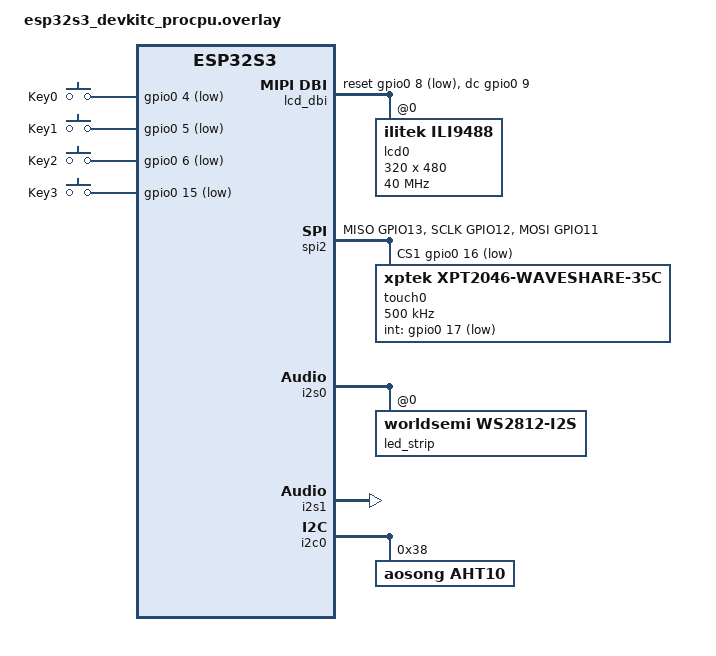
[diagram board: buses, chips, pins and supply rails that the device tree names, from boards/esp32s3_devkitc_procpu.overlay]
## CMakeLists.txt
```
# SPDX-License-Identifier: Apache-2.0

cmake_minimum_required(VERSION 3.20.0)

list(APPEND ZEPHYR_EXTRA_MODULES
    ${CMAKE_CURRENT_LIST_DIR}/../modules/ej3989_drivers
)

find_package(Zephyr REQUIRED HINTS $ENV{ZEPHYR_BASE})
project(lvgl_practice)

target_sources(app PRIVATE
    src/main.c
    src/lvgl_ej.c
    src/led_service.c
    src/app_controller.c
    src/app_state.c
    src/app_settings.c
    src/aht10_service.c
    src/max98357a_service.c
    src/wifi_service.c
    src/radio_service.c
)

target_include_directories(app PRIVATE
    ${CMAKE_CURRENT_SOURCE_DIR}/third_party/minimp3
)

set(gen_dir ${ZEPHYR_BINARY_DIR}/include/generated)
generate_inc_file_for_target(
    app
    ${CMAKE_CURRENT_SOURCE_DIR}/assert/8-xp.wav
    ${gen_dir}/8_xp_wav.inc
)
```

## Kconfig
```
mainmenu "LVGL practice"

menu "Internet radio"

config APP_WIFI_SSID
	string "Wi-Fi SSID"
	default ""
	help
	  SSID used by the internet radio service.

config APP_WIFI_PSK
	string "Wi-Fi password"
	default ""
	help
	  WPA/WPA2 password. Leave empty only for an open network.

config APP_RADIO_HOST
	string "Internet radio host"
	default "wrti-live.streamguys1.com"

config APP_RADIO_PATH
	string "Internet radio path"
	default "/jazz-mp3"

endmenu

config LVGL_EJ_STACK_USAGE_LOG
	bool "Print LVGL EJ stack usage"
	select INIT_STACKS
	select THREAD_STACK_INFO
	select THREAD_NAME
	help
	  Enable periodic printk output for the LVGL EJ thread stack usage.
	  This is intended for debugging stack size only.

config LVGL_EJ_STACK_LOG_INTERVAL_MS
	int "LVGL EJ stack usage log interval in milliseconds"
	default 5000
	depends on LVGL_EJ_STACK_USAGE_LOG
	help
	  Interval used for periodic LVGL EJ thread stack usage output.

config APP_STACK_USAGE_LOG
	bool "Print app controller stack usage"
	select INIT_STACKS
	select THREAD_STACK_INFO
	select THREAD_NAME
	help
	  Print the app controller thread stack high-water usage.
	  This option is intended for stack size debugging.

source "Kconfig.zephyr"
```

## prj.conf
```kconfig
# Basic console/log output
CONFIG_CONSOLE=y
CONFIG_UART_CONSOLE=y
CONFIG_PRINTK=y
CONFIG_LOG=y
CONFIG_LOG_DEFAULT_LEVEL=3
CONFIG_ASSERT=y
CONFIG_DEBUG_OPTIMIZATIONS=y

# Persistent settings with NVS
CONFIG_FLASH=y
CONFIG_FLASH_MAP=y
CONFIG_NVS=y
CONFIG_SETTINGS=y
CONFIG_SETTINGS_NVS=y

# Display and touch hardware
CONFIG_GPIO=y
CONFIG_SPI=y
CONFIG_DISPLAY=y
CONFIG_ILI9488=y
CONFIG_MIPI_DBI=y
CONFIG_INPUT=y
CONFIG_INPUT_XPT2046=n
CONFIG_EJ3989_INPUT_XPT2046=y
CONFIG_LED_STRIP=y
CONFIG_WS2812_STRIP_I2S=y
# Audio - MAX98357A
CONFIG_I2S=y
CONFIG_I2S_ESP32_TX_BLOCK_COUNT=20
CONFIG_I2S_ESP32_ALLOWED_EMPTY_TX_QUEUE_DEFERRAL_TIME_MS=50

# Wi-Fi, HTTP and MP3 internet radio
CONFIG_NETWORKING=y
CONFIG_NET_IPV4=y
CONFIG_NET_IPV6=n
CONFIG_NET_TCP=y
CONFIG_NET_SOCKETS=y
CONFIG_NET_CONTEXT_RCVTIMEO=y
CONFIG_NET_DHCPV4=y
CONFIG_DNS_RESOLVER=y
CONFIG_NET_MGMT=y
CONFIG_NET_MGMT_EVENT=y
CONFIG_EVENTS=y
# A 128 kbps stream needs sustained RX throughput above 16 KB/s.
CONFIG_NET_PKT_RX_COUNT=32
CONFIG_NET_BUF_RX_COUNT=128
CONFIG_NET_TCP_MAX_RECV_WINDOW_SIZE=16384
CONFIG_NET_RX_STACK_SIZE=4096
CONFIG_WIFI=y
CONFIG_WIFI_USAGE_MODE_STA=y
CONFIG_ESP32_WIFI_STA_RECONNECT=y
CONFIG_ESP_WIFI_HEAP_SPIRAM=y
CONFIG_ESP32_WIFI_NET_ALLOC_SPIRAM=n
CONFIG_ESP32_WIFI_STATIC_RX_BUFFER_NUM=12
CONFIG_ESP32_WIFI_RX_IRAM_OPT=y
# Set these in a private extra conf file instead of committing credentials.
# CONFIG_APP_WIFI_SSID="your-ssid"
# CONFIG_APP_WIFI_PSK="your-password"

# temperature/Humidity - AHT10
CONFIG_I2C=y
CONFIG_SENSOR=y
CONFIG_EJ3989_SENSOR_AHT10=y

# LVGL
CONFIG_LVGL=y
CONFIG_LV_Z_AUTO_INIT=n
CONFIG_LV_Z_POINTER_INPUT=y
CONFIG_LV_COLOR_16_SWAP=y
CONFIG_LV_USE_LABEL=y
CONFIG_LV_USE_BUTTON=y
CONFIG_LV_USE_MSGBOX=y
CONFIG_LV_FONT_MONTSERRAT_24=y
CONFIG_LV_Z_MEM_POOL_SIZE=65536
CONFIG_LV_Z_MEMORY_POOL_CUSTOM_SECTION=y
CONFIG_LV_Z_BUFFER_ALLOC_STATIC=y
CONFIG_LV_Z_VDB_CUSTOM_SECTION=y

# Main only starts the LVGL EJ thread, so it no longer needs to hold LVGL setup.
CONFIG_MAIN_STACK_SIZE=4096

# Optional stack usage measurement
# CONFIG_LVGL_EJ_STACK_USAGE_LOG=y
# CONFIG_LVGL_EJ_STACK_LOG_INTERVAL_MS=5000
# CONFIG_APP_STACK_USAGE_LOG=y
CONFIG_INIT_STACKS=y
```

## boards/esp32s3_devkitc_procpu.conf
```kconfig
# ESP32-S3-WROOM-1-N16R8 uses 16 MB Quad SPI flash and 8 MB Octal SPI PSRAM.
# Zephyr defaults OCT_FLASH to y when SPIRAM_MODE_OCT is enabled, so override
# the flash path back to Quad/DIO while keeping PSRAM in Octal mode.
CONFIG_SPIRAM_MODE_OCT=y
CONFIG_ESPTOOLPY_OCT_FLASH=n
```

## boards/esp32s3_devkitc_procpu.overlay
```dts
#include <zephyr/dt-bindings/input/input-event-codes.h>
#include <zephyr/dt-bindings/gpio/gpio.h>
#include <zephyr/dt-bindings/led/led.h>
#include <zephyr/dt-bindings/display/panel.h>
#include <zephyr/dt-bindings/mipi_dbi/mipi_dbi.h>

/ {
    aliases {
        app-buttons = &app_buttons;
        led-strip = &led_strip;
        display = &lcd0;
        touch = &touch0;
    };

    chosen {
        zephyr,display = &lcd0;
        zephyr,touch = &touch0;
    };

    app_buttons: buttons_ej {
        compatible = "gpio-keys";
        debounce-interval-ms = <50>;

        key0: key_0 {
            gpios = <&gpio0 4 (GPIO_ACTIVE_LOW | GPIO_PULL_UP)>;
            label = "Key0";
            zephyr,code = <INPUT_KEY_1>;
        };
        key1: key_1 {
            gpios = <&gpio0 5 (GPIO_ACTIVE_LOW | GPIO_PULL_UP)>;
            label = "Key1";
            zephyr,code = <INPUT_KEY_2>;
        };
        key2: key_2 {
            gpios = <&gpio0 6 (GPIO_ACTIVE_LOW | GPIO_PULL_UP)>;
            label = "Key2";
            zephyr,code = <INPUT_KEY_3>;
        };
        key3: key_3 {
            gpios = <&gpio0 15 (GPIO_ACTIVE_LOW | GPIO_PULL_UP)>;
            label = "Key3";
            zephyr,code = <INPUT_KEY_4>;
        };
    };

    /*
     * MHS-3.5inch RPi Display LCD-only wiring, ESP32-S3 side:
     *   LCD_RS  -> GPIO9
     *   LCD_CS  -> GPIO10
     *   LCD_SI  -> GPIO11
     *   LCD_SCK -> GPIO12
     *   RST     -> GPIO8
     *
     * Touch wiring on the same SPI bus:
     *   TP_SI / T_DIN       -> GPIO11
     *   TP_SCK / T_CLK/SCL  -> GPIO12
     *   TP_DO / T_DO / SDO  -> GPIO13
     *   TP_CS               -> GPIO16
     *   TP_IRQ              -> GPIO17
     */
    lcd_dbi: mipi_dbi {
        compatible = "zephyr,mipi-dbi-spi";
        spi-dev = <&spi2>;
        dc-gpios = <&gpio0 9 GPIO_ACTIVE_HIGH>;
        reset-gpios = <&gpio0 8 GPIO_ACTIVE_LOW>;
        xfr-min-bits = "MIPI_DBI_SPI_XFR_16BIT";
        write-only;

        #address-cells = <1>;
        #size-cells = <0>;
        status = "okay";

        lcd0: ili9488@0 {
            compatible = "ilitek,ili9488";
            reg = <0>;
            status = "okay";

            mipi-mode = "MIPI_DBI_MODE_SPI_4WIRE";
            /*
             * The LCDWiki page lists ILI9486, 320x480 resolution, XPT2046
             * touch, and SPI input up to 125MHz. Keep the first ESP32-S3
             * bring-up speed conservative; raise it only after the direct
             * display_write test is stable.
             */
            mipi-max-frequency = <40000000>;
            pixel-format = <PANEL_PIXEL_FORMAT_RGB_565>;

            /*
             * Match the Linux mhs35 overlay MADCTL value 0x28:
             * BGR + row/column exchange. In Zephyr's common ILI9XXX
             * rotation logic this is rotation 90 with MX toggled back off.
             */
            width = <320>;
            height = <480>;
            rotation = <90>;
            h-mirror;
        };
    };

    lvgl_touch {
        compatible = "zephyr,lvgl-pointer-input";
        input = <&touch0>;
        display = <&lcd0>;
        /*
         * The LVGL pointer layer rotates touch coordinates according to the
         * display orientation. Keep the XPT2046 driver in the panel's native
         * 320x480 coordinate space and let this layer apply rotation = <90>.
         */
        invert-x;
        invert-y;
        status = "okay";
    };
};

&spi2 {
    status = "okay";
    #address-cells = <1>;
    #size-cells = <0>;
    cs-gpios = <&gpio0 10 GPIO_ACTIVE_LOW>,
               <&gpio0 16 GPIO_ACTIVE_LOW>;
    pinctrl-0 = <&spim2_lcd_touch>;
    pinctrl-names = "default";

    touch0: xpt2046@1 {
        compatible = "xptek,xpt2046-waveshare-35c";
        reg = <1>;
        spi-max-frequency = <500000>;
        int-gpios = <&gpio0 17 (GPIO_ACTIVE_LOW | GPIO_PULL_UP)>;
        touchscreen-size-x = <320>;
        touchscreen-size-y = <480>;
        min-x = <420>;
        max-x = <3710>;
        min-y = <370>;
        max-y = <3750>;
        z-threshold = <300>;
        reads = <4>;
        status = "okay";
    };
};

&pinctrl {
    spim2_lcd_touch: spim2_lcd_touch {
        group1 {
            pinmux = <SPIM2_MISO_GPIO13>,
                     <SPIM2_SCLK_GPIO12>;
        };

        group2 {
            pinmux = <SPIM2_MOSI_GPIO11>;
            output-low;
        };
    };
};

&spi3 {
    status = "disabled";
};

&i2s0_default {
    group1 {
        pinmux = <I2S0_O_SD_GPIO38>;
    };
};

&i2s0 {
    status = "okay";

    dmas = <&dma 3>;
    dma-names = "tx";

    led_strip: ws2812@0 {
        compatible = "worldsemi,ws2812-i2s";

        reg = <0>;
        chain-length = <1>;
        color-mapping = <LED_COLOR_ID_GREEN
            LED_COLOR_ID_RED
            LED_COLOR_ID_BLUE>;
        reset-delay = <500>;
    };
};

&dma {
    status = "okay";
};

&pinctrl {
    i2s1_max98357: i2s1_max98357 {
        group1 {
            pinmux = <I2S1_O_BCK_GPIO39>,
                     <I2S1_O_WS_GPIO40>,
                     <I2S1_O_SD_GPIO41>;
        };
    };
};

&i2s1 {
    status = "okay";
    pinctrl-0 = <&i2s1_max98357>;
    pinctrl-names = "default";
};

&i2c0 {
    status = "okay";

    aht10: aht10@38 {
        compatible = "aosong,aht10";
        reg =<0x38>;
        status = "okay";
    };
};
```

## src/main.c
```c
#include <zephyr/kernel.h>

#include "lvgl_ej.h"
#include "app_controller.h"
#include "app_state.h"


int main(void)
{
	int ret;

	printk("LVGL practice start\n");

	app_state_init();

	ret = app_controller_start();
	if (ret < 0) {
		printk("App controller start failed: %d\n", ret);
		return 0;
	}

	ret = lvgl_ej_start();
	if (ret < 0) {
		printk("LVGL EJ start failed: %d\n", ret);
		return 0;
	}

	while (1) {
		k_msleep(1000);
	}
}
```

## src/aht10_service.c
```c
#include "aht10_service.h"

#include <errno.h>

#include <zephyr/device.h>
#include <zephyr/devicetree.h>
#include <zephyr/drivers/sensor.h>

#define AHT10_NODE DT_NODELABEL(aht10)

static const struct device *const aht10_dev = DEVICE_DT_GET(AHT10_NODE);

int aht10_service_init(void)
{
	if (!device_is_ready(aht10_dev)) {
		return -ENODEV;
	}

	return 0;
}

int aht10_service_read(int64_t *temperature_milli_c,
			       int64_t *humidity_milli_percent)
{
	struct sensor_value temperature;
	struct sensor_value humidity;
	int ret;

	if (temperature_milli_c == NULL || humidity_milli_percent == NULL) {
		return -EINVAL;
	}

	ret = sensor_sample_fetch(aht10_dev);
	if (ret < 0) {
		return ret;
	}

	ret = sensor_channel_get(aht10_dev, SENSOR_CHAN_AMBIENT_TEMP,
				 &temperature);
	if (ret < 0) {
		return ret;
	}

	ret = sensor_channel_get(aht10_dev, SENSOR_CHAN_HUMIDITY, &humidity);
	if (ret < 0) {
		return ret;
	}

	*temperature_milli_c = sensor_value_to_milli(&temperature);
	*humidity_milli_percent = sensor_value_to_milli(&humidity);

	return 0;
}
```

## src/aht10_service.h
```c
#ifndef AHT10_SERVICE_H_
#define AHT10_SERVICE_H_

#include <stdint.h>

int aht10_service_init(void);
int aht10_service_read(int64_t *temperature_milli_c,
			       int64_t *humidity_milli_percent);

#endif /* AHT10_SERVICE_H_ */
```

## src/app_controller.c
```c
#include "app_controller.h"
#include "aht10_service.h"
#include "app_state.h"
#include "app_settings.h"
#include "led_service.h"
#include "max98357a_service.h"
#include "radio_service.h"

#include <errno.h>

#include <zephyr/kernel.h>
#include <zephyr/logging/log.h>
#include <zephyr/sys/atomic.h>

LOG_MODULE_REGISTER(app_controller, LOG_LEVEL_INF);

#define APP_THREAD_STACK_SIZE    2048
#define APP_THREAD_PRIORITY      K_PRIO_PREEMPT(6)
#define APP_EVENT_QUEUE_LENGTH  8
#define STATUS_TIMER_PERIOD     K_SECONDS(5)
#define APP_LOG_TEXT_SIZE       64
#define APP_LOG_BLOCK_COUNT     4

BUILD_ASSERT(APP_LOG_BLOCK_COUNT <= APP_EVENT_QUEUE_LENGTH,
	     "Log slab blocks must fit in event queue");
BUILD_ASSERT(APP_LOG_TEXT_SIZE > 1,
	     "Log message buffer is too small");

struct app_log_message {
	char text[APP_LOG_TEXT_SIZE];
};

static void status_timer_expiry(struct k_timer *timer);
static void settings_save_work_handler(struct k_work *work);
static int app_controller_put_event(const struct app_event *event);
#if defined(CONFIG_APP_STACK_USAGE_LOG)
static void app_print_stack_usage(void);
#endif

K_TIMER_DEFINE(status_timer, status_timer_expiry, NULL);
K_WORK_DELAYABLE_DEFINE(settings_save_work, settings_save_work_handler);
K_MSGQ_DEFINE(app_event_queue, sizeof(struct app_event), APP_EVENT_QUEUE_LENGTH, 4);
K_THREAD_STACK_DEFINE(app_thread_stack, APP_THREAD_STACK_SIZE);
K_SEM_DEFINE(app_ready_sem, 0, 1);

K_MEM_SLAB_DEFINE_STATIC_TYPE(log_message_slab,
			      struct app_log_message,
			      APP_LOG_BLOCK_COUNT);

static struct k_thread app_thread;
static atomic_t dropped_event_count;
static int app_init_result;
static bool aht10_available;

#if defined(CONFIG_APP_STACK_USAGE_LOG)
static void app_print_stack_usage(void)
{
	size_t unused;
	size_t total;
	int ret;

	ret = k_thread_stack_space_get(&app_thread, &unused);
	if (ret < 0) {
		LOG_ERR("APP stack check failed: %d", ret);
		return;
	}

	total = K_THREAD_STACK_SIZEOF(app_thread_stack);
	LOG_INF("APP stack: used=%zu unused=%zu total=%zu",
		total - unused, unused, total);
}
#endif /* CONFIG_APP_STACK_USAGE_LOG */

static void app_thread_handler(void *p1, void *p2, void *p3)
{
	struct app_event event;
	struct app_persistent_settings settings;
	struct app_state_snapshot snapshot;
	int ret;

	ARG_UNUSED(p1);
	ARG_UNUSED(p2);
	ARG_UNUSED(p3);

	ret = app_settings_init();
	if (ret < 0) {
		LOG_ERR("Settings init failed: %d", ret);
		goto init_done;
	}

	ret = app_settings_load(&settings);
	if (ret < 0) {
		LOG_WRN("Settings load failed, using default: %d", ret);
	} else {
		app_state_set_led_color_index(settings.led_color_index);
		app_state_set_led_enabled(settings.led_enabled);

		LOG_INF("Settings Loaded: color=%u enabled=%d",
			settings.led_color_index,
			settings.led_enabled);
	}
init_done:
	ret = led_service_init();
	if (ret < 0) {
		goto service_init_done;
	}

	app_state_get_snapshot(&snapshot);
	ret = led_service_restore(snapshot.led_color_index,
				  snapshot.led_enabled);
	if (ret == -EINVAL) {
		LOG_WRN("Invalid saved LED state, using defaults");
		app_state_set_led_color_index(0);
		app_state_set_led_enabled(true);
		ret = led_service_restore(0, true);
	}

service_init_done:
	if (ret >= 0) {
		int sensor_ret = aht10_service_init();

		if (sensor_ret < 0) {
			LOG_WRN("AHT10 service is unavailable: %d", sensor_ret);
		} else {
			aht10_available = true;
			LOG_INF("AHT10 service ready");
		}
	}

	if (ret >= 0) {
		int audio_ret = max98357a_service_init();

		if (audio_ret < 0) {
			LOG_WRN("MAX98357A service is unavailable: %d", audio_ret);
		} else {
			audio_ret = max98357a_service_play_startup_wav();
			if (audio_ret < 0) {
				LOG_WRN("MAX98357A startup WAV failed: %d", audio_ret);
			}
		}
	}

	if (ret >= 0) {
		int radio_ret = radio_service_init();

		if (radio_ret < 0) {
			LOG_WRN("Internet radio service is unavailable: %d", radio_ret);
		}
	}

	app_init_result = ret;
	k_sem_give(&app_ready_sem);

	if (ret < 0) {
		LOG_ERR("LED service init failed: %d", ret);
		return;
	}

	while (1) {
		ret = k_msgq_get(&app_event_queue, &event, K_FOREVER);
		if (ret < 0) {
			LOG_ERR("App event receive failed: %d", ret);
			continue;
		}

		switch (event.type) {
		case APP_EVENT_LED_NEXT: {
			uint32_t led_count;

			led_count = app_state_increment_led_click_count();

			ret = led_service_next();
			if (ret < 0) {
				LOG_ERR("LED update failed: %d", ret);
				break;
			}

			app_state_set_led_color_index((uint8_t)ret);
			app_state_set_led_enabled(true);
			LOG_INF("LED event: count=%u color=%d", led_count, ret);
			(void)k_work_reschedule(&settings_save_work, K_SECONDS(2));
			break;
		}
		case APP_EVENT_AUDIO_PLAY:
			ret = max98357a_service_play_startup_wav();
			if (ret == -EBUSY) {
				LOG_WRN("Audio is already playing");
			} else if (ret < 0) {
				LOG_ERR("Audio playback request failed: %d", ret);
			} else {
				LOG_INF("Audio playback requested");
			}
			break;
		case APP_EVENT_RADIO_TOGGLE:
			if (radio_service_is_playing()) {
				ret = radio_service_stop();
				if (ret < 0) {
					LOG_ERR("Internet radio stop failed: %d", ret);
				} else {
					app_state_set_radio_playing(false);
					LOG_INF("Internet radio stop requested");
				}
			} else {
				ret = radio_service_start();
				if (ret < 0) {
					LOG_ERR("Internet radio request failed: %d", ret);
				} else {
					app_state_set_radio_playing(true);
					LOG_INF("Internet radio playback requested");
				}
			}
			break;
		case APP_EVENT_STATUS_TICK: {
			struct app_state_snapshot snapshot;
			atomic_val_t dropped;
			int64_t temperature_milli_c;
			int64_t humidity_milli_percent;

			app_state_get_snapshot(&snapshot);
			app_state_set_radio_playing(radio_service_is_playing());
			dropped = atomic_get(&dropped_event_count);

			LOG_INF("Status: uptime=%u screen=%d tap=%u led=%u color=%u dropped=%ld",
				event.value,
				snapshot.current_screen,
				snapshot.click_count,
				snapshot.led_click_count,
				snapshot.led_color_index,
				(long)dropped);

			if (aht10_available) {
				ret = aht10_service_read(&temperature_milli_c,
							 &humidity_milli_percent);
				if (ret < 0) {
					LOG_ERR("AHT10 read failed: %d", ret);
					app_state_set_aht10_unavailable();
				} else {
					app_state_set_aht10_reading(temperature_milli_c,
							      humidity_milli_percent);
					LOG_INF("AHT10: temperature=%lld mC humidity=%lld m%%RH",
						(long long)temperature_milli_c,
						(long long)humidity_milli_percent);
				}
			}
#if defined(CONFIG_APP_STACK_USAGE_LOG)
			app_print_stack_usage();
#endif
			break;
		}
		case APP_EVENT_LOG_MESSAGE:
			if (event.log_message == NULL) {
				LOG_WRN("Log event has no message");
				break;
			}
			LOG_INF("App log: %s", (char *)event.log_message->text);

			k_mem_slab_free(&log_message_slab,
					event.log_message);
			break;
		case APP_EVENT_SAVE_SETTINGS: {
			struct app_state_snapshot snapshot;
			struct app_persistent_settings settings;

			app_state_get_snapshot(&snapshot);

			settings = (struct app_persistent_settings) {
				.version = APP_SETTINGS_VERSION,
				.led_color_index = snapshot.led_color_index,
				.led_enabled = snapshot.led_enabled,
				.reserved = 0,
			};
			ret = app_settings_save(&settings);
			if (ret < 0) {
				LOG_ERR("Settings save failed: %d", ret);
			} else {
				LOG_INF("Settings save: color=%u enabled=%d",
					settings.led_color_index,
					settings.led_enabled);
			}
			break;
		}
		default:
			LOG_WRN("Unhandled event type: %d", event.type);
			break;
		}
	}
}

int app_controller_send(enum app_event_type type, uint32_t value)
{
	struct app_event event = {
		.type = type,
		.value = value,
		.log_message = NULL,
	};

	return app_controller_put_event(&event);
}

int app_controller_start(void)
{
	int ret;

	k_thread_create(&app_thread,
			app_thread_stack,
			K_THREAD_STACK_SIZEOF(app_thread_stack),
			app_thread_handler,
			NULL, NULL, NULL,
			APP_THREAD_PRIORITY,
			0,
			K_NO_WAIT);
	k_thread_name_set(&app_thread, "app_controller");

	ret = k_sem_take(&app_ready_sem, K_SECONDS(3));
	if (ret < 0) {
		LOG_ERR("App initialization timeout: %d", ret);
		return ret;
	}

	if (app_init_result < 0) {
		return app_init_result;
	}

	k_timer_start(&status_timer,
		      STATUS_TIMER_PERIOD,
		      STATUS_TIMER_PERIOD);

	return 0;
}

static void status_timer_expiry(struct k_timer *timer)
{
	ARG_UNUSED(timer);

	(void)app_controller_send(APP_EVENT_STATUS_TICK,
				  k_uptime_get_32());
}

static void settings_save_work_handler(struct k_work *work)
{
	int ret;

	ARG_UNUSED(work);

	ret = app_controller_send(APP_EVENT_SAVE_SETTINGS, 0);
	if (ret < 0) {
		LOG_WRN("Settings save event send failed: %d", ret);
	}
}

static int app_controller_put_event(const struct app_event *event)
{
	int ret;

	__ASSERT(event != NULL, "event must not be NULL");
	if (event == NULL) {
		return -EINVAL;
	}

	ret = k_msgq_put(&app_event_queue, event, K_NO_WAIT);
	if (ret < 0) {
		atomic_inc(&dropped_event_count);
	}

	return ret;
}

int app_controller_send_log(const char *text)
{
	struct app_log_message *message;
	struct app_event event;
	int ret;

	if (text == NULL) {
		LOG_WRN("Cannot send a NULL log message");
		return -EINVAL;
	}

	ret = k_mem_slab_alloc(&log_message_slab,
			       (void **)&message,
			       K_NO_WAIT);

	if (ret < 0) {
		atomic_inc(&dropped_event_count);
		LOG_WRN("Log slab allocation failed: %d", ret);
		return ret;
	}

	snprintk(message->text, sizeof(message->text), "%s", text);

	event = (struct app_event) {
		.type = APP_EVENT_LOG_MESSAGE,
		.value = 0,
		.log_message = message,
	};

	ret = app_controller_put_event(&event);
	if (ret < 0) {
		k_mem_slab_free(&log_message_slab, message);
		return ret;
	}

	return 0;
}
```

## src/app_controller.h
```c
#ifndef APP_CONTROLLER_H_
#define APP_CONTROLLER_H_


#include <stdint.h>

struct app_log_message;

enum app_event_type {
	APP_EVENT_LED_NEXT,
	APP_EVENT_AUDIO_PLAY,
	APP_EVENT_RADIO_TOGGLE,
	APP_EVENT_STATUS_TICK,
	APP_EVENT_LOG_MESSAGE,
	APP_EVENT_SAVE_SETTINGS,
};

struct app_event {
	enum app_event_type type;
	uint32_t value;
	struct app_log_message *log_message;
};

int app_controller_start(void);
int app_controller_send(enum app_event_type type, uint32_t value);
int app_controller_send_log(const char *text);


#endif /* APP_CONTROLLER_H_ */
```

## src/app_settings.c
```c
#include "app_settings.h"

#include <errno.h>
#include <stddef.h>

#include <zephyr/settings/settings.h>

#define APP_SETTINGS_KEY "ej/state"

_Static_assert(sizeof(struct app_persistent_settings) == 4,
	       "Persistent settings layout changed");

int app_settings_init(void)
{
	return settings_subsys_init();
}

int app_settings_load(struct app_persistent_settings *settings)
{
	ssize_t len;

	if (settings == NULL) {
		return -EINVAL;
	}

	*settings = (struct app_persistent_settings) {
		.version = APP_SETTINGS_VERSION,
		.led_color_index = 0,
		.led_enabled = true,
		.reserved = 0,
	};

	len = settings_load_one(APP_SETTINGS_KEY,
				settings,
				sizeof(*settings));

	if ((len == 0) || (len == -ENOENT)) {
		return 0;
	}

	if (len < 0) {
		return (int)len;
	}

	if (len != (ssize_t)sizeof(*settings)) {
		return -EINVAL;
	}

	if (settings->version != APP_SETTINGS_VERSION) {
		return -EINVAL;
	}

	return 0;
}

int app_settings_save(const struct app_persistent_settings *settings)
{
	if (settings == NULL) {
		return -EINVAL;
	}

	return settings_save_one(APP_SETTINGS_KEY,
				 settings,
				 sizeof(*settings));
}
```

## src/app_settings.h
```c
#ifndef APP_SETTINGS_H_
#define APP_SETTINGS_H_

#include <stdint.h>

#define APP_SETTINGS_VERSION 1U

struct app_persistent_settings {
	uint8_t version;
	uint8_t led_color_index;
	uint8_t led_enabled;
	uint8_t reserved;
};

int app_settings_init(void);
int app_settings_load(struct app_persistent_settings *settings);
int app_settings_save(const struct app_persistent_settings *settings);

#endif /* APP_SETTINGS_H_ */
```

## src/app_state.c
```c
#include "app_state.h"
#include <zephyr/kernel.h>

static struct app_state_snapshot state;
K_MUTEX_DEFINE(state_lock);

void app_state_init(void)
{
    k_mutex_lock(&state_lock, K_FOREVER);
    state = (struct app_state_snapshot){
        .current_screen = APP_SCREEN_MAIN,
        .click_count = 0,
        .led_click_count = 0,
		.temperature_milli_c = 0,
		.humidity_milli_percent = 0,
        .led_color_index = 0,
        .led_enabled = true,
		.aht10_valid = false,
		.radio_playing = false,
    };

    k_mutex_unlock(&state_lock);
}

uint32_t app_state_increment_click_count(void)
{
    uint32_t count;
    k_mutex_lock(&state_lock, K_FOREVER);
    state.click_count++;
    count = state.click_count;
    k_mutex_unlock(&state_lock);

    return count;
}

uint32_t app_state_increment_led_click_count(void)
{
    uint32_t count;
    k_mutex_lock(&state_lock, K_FOREVER);
    state.led_click_count++;
    count = state.led_click_count;
    k_mutex_unlock(&state_lock);

    return count;
}

void app_state_set_screen(enum app_screen_id screen)
{
    k_mutex_lock(&state_lock, K_FOREVER);
    state.current_screen = screen;
    k_mutex_unlock(&state_lock);
}

void app_state_set_led_color_index(uint8_t color_index)
{
	k_mutex_lock(&state_lock, K_FOREVER);
	state.led_color_index = color_index;
	k_mutex_unlock(&state_lock);
}

void app_state_set_led_enabled(bool enabled)
{
	k_mutex_lock(&state_lock, K_FOREVER);
	state.led_enabled = enabled;
	k_mutex_unlock(&state_lock);
}

void app_state_set_aht10_reading(int64_t temperature_milli_c,
				 int64_t humidity_milli_percent)
{
	k_mutex_lock(&state_lock, K_FOREVER);
	state.temperature_milli_c = temperature_milli_c;
	state.humidity_milli_percent = humidity_milli_percent;
	state.aht10_valid = true;
	k_mutex_unlock(&state_lock);
}

void app_state_set_aht10_unavailable(void)
{
	k_mutex_lock(&state_lock, K_FOREVER);
	state.aht10_valid = false;
	k_mutex_unlock(&state_lock);
}

void app_state_set_radio_playing(bool playing)
{
	k_mutex_lock(&state_lock, K_FOREVER);
	state.radio_playing = playing;
	k_mutex_unlock(&state_lock);
}

void app_state_get_snapshot(struct app_state_snapshot *snapshot)
{
    if (snapshot == NULL) {
        return;
    }
    k_mutex_lock(&state_lock, K_FOREVER);
    *snapshot = state;
    k_mutex_unlock(&state_lock);
}
```

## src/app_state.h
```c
#ifndef APP_STATE_H_
#define APP_STATE_H_

#include <stdbool.h>
#include <stdint.h>

enum app_screen_id {
	APP_SCREEN_MAIN,
	APP_SCREEN_SETUP,
};

struct app_state_snapshot {
    enum app_screen_id current_screen;
    uint32_t click_count;
    uint32_t led_click_count;
	int64_t temperature_milli_c;
	int64_t humidity_milli_percent;
    uint8_t led_color_index;
	bool led_enabled;
	bool aht10_valid;
	bool radio_playing;
};

void app_state_init(void);

uint32_t app_state_increment_click_count(void);
uint32_t app_state_increment_led_click_count(void);

void app_state_set_screen(enum app_screen_id screen);
void app_state_set_led_color_index(uint8_t color_index);
void app_state_set_led_enabled(bool enabled);
void app_state_set_aht10_reading(int64_t temperature_milli_c,
				 int64_t humidity_milli_percent);
void app_state_set_aht10_unavailable(void);
void app_state_set_radio_playing(bool playing);

void app_state_get_snapshot(struct app_state_snapshot *snapshot);

#endif /* APP_STATE_H_ */
```

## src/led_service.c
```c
#include "led_service.h"

#include <errno.h>
#include <stddef.h>

#include <zephyr/device.h>
#include <zephyr/drivers/led_strip.h>
#include <zephyr/kernel.h>
#include <zephyr/sys/util.h>

#define LED_STRIP_NODE DT_ALIAS(led_strip)
#define LED_STRIP_DEV DEVICE_DT_GET(LED_STRIP_NODE)

static const struct led_rgb led_strip_pixels[] = {
	{ .r = 10, .g = 0, .b = 0 },   /* Red */
	{ .r = 0, .g = 10, .b = 0 },   /* Green */
	{ .r = 0, .g = 0, .b = 10 },   /* Blue */
	{ .r = 10, .g = 10, .b = 0 },  /* Yellow */
	{ .r = 0, .g = 10, .b = 10 },  /* Cyan */
	{ .r = 10, .g = 0, .b = 10 },  /* Magenta */
	{ .r = 10, .g = 10, .b = 10 }, /* White */
	{ .r = 10, .g = 5, .b = 0 },   /* Orange */
	{ .r = 5, .g = 0, .b = 10 },   /* Purple */
	{ .r = 2, .g = 2, .b = 2 },    /* Dim white */
};

static struct led_rgb pending_pixel;
static size_t next_color_index;
K_MUTEX_DEFINE(pending_pixel_lock);
static struct k_work update_work;

static void led_service_work_handler(struct k_work *work)
{
	struct led_rgb pixel;

	ARG_UNUSED(work);

	k_mutex_lock(&pending_pixel_lock, K_FOREVER);
	pixel = pending_pixel;
	k_mutex_unlock(&pending_pixel_lock);

	led_strip_update_rgb(LED_STRIP_DEV, &pixel, 1);
}

int led_service_init(void)
{
	if (!device_is_ready(LED_STRIP_DEV)) {
		return -ENODEV;
	}

	k_work_init(&update_work, led_service_work_handler);
	next_color_index = 0;

	return 0;
}

int led_service_restore(uint8_t color_index, bool enabled)
{
	struct led_rgb pixel = { 0 };
	int ret;

	if (color_index >= ARRAY_SIZE(led_strip_pixels)) {
		return -EINVAL;
	}

	if (enabled) {
		pixel = led_strip_pixels[color_index];
	}

	ret = led_strip_update_rgb(LED_STRIP_DEV, &pixel, 1);
	if (ret < 0) {
		return ret;
	}

	next_color_index = (color_index + 1U) % ARRAY_SIZE(led_strip_pixels);

	return 0;
}

int led_service_next(void)
{
	size_t color_index = next_color_index;
	int ret;

	k_mutex_lock(&pending_pixel_lock, K_FOREVER);
	pending_pixel = led_strip_pixels[color_index];
	k_mutex_unlock(&pending_pixel_lock);

	ret = k_work_submit(&update_work);
	if (ret < 0) {
		return ret;
	}

	next_color_index = (color_index + 1) % ARRAY_SIZE(led_strip_pixels);

	return (int)color_index;
}
```

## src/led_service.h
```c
#ifndef LED_SERVICE_H_
#define LED_SERVICE_H_

#include <stdbool.h>
#include <stdint.h>

int led_service_init(void);
int led_service_restore(uint8_t color_index, bool enabled);
int led_service_next(void);

#endif /* LED_SERVICE_H_ */
```

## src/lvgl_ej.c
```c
#include "lvgl_ej.h"
#include "app_controller.h"
#include "app_state.h"

#include <errno.h>
#include <stdint.h>

#include <lvgl.h>
#include <lvgl_zephyr.h>
#include <zephyr/device.h>
#include <zephyr/drivers/display.h>
#include <zephyr/kernel.h>
#include <zephyr/sys/util.h>

#define DISPLAY_NODE DT_CHOSEN(zephyr_display)
#define DISPLAY_DEV DEVICE_DT_GET(DISPLAY_NODE)
#define LVGL_EJ_THREAD_STACK_SIZE 8192
#define LVGL_EJ_THREAD_PRIORITY K_PRIO_PREEMPT(5)

static lv_obj_t *counter_label;
static lv_obj_t *text_box;
static lv_obj_t *log_label;
static lv_obj_t *state_label;
static lv_obj_t *aht10_label;
static lv_obj_t *radio_button_label;
static struct k_thread lvgl_ej_thread;
K_THREAD_STACK_DEFINE(lvgl_ej_thread_stack, LVGL_EJ_THREAD_STACK_SIZE);

enum button_id_ej {
	BUTTON_ID_MAIN,
	BUTTON_ID_SUB,
	BUTTON_ID_MSGBOX,
	BUTTON_ID_SETUP,
};

struct user_data_ej {
	lv_obj_t *screen;
	enum button_id_ej button_id;
};

static void log_box_add_text(const char *text);
static void button_event_cb(lv_event_t *event);
static void box_button_event_cb(lv_event_t *event);
static void screen_back_event_cb(lv_event_t *event);
static void lvgl_ej_thread_handler(void *p1, void *p2, void *p3);
static void ui_state_timer_cb(lv_timer_t *timer);
static void format_milli_value(char *buf, size_t buf_size, int64_t value);

#if defined(CONFIG_LVGL_EJ_STACK_USAGE_LOG)
static void lvgl_ej_print_stack_usage(void);

static void lvgl_ej_print_stack_usage(void)
{
	size_t unused;
	size_t total;
	int ret;

	ret = k_thread_stack_space_get(&lvgl_ej_thread, &unused);
	if (ret < 0) {
		printk("LVGL stack check failed: %d\n", ret);
		return;
	}

	total = K_THREAD_STACK_SIZEOF(lvgl_ej_thread_stack);
	printk("LVGL stack: used=%zu unused=%zu total=%zu\n",
	       total - unused, unused, total);
}
#endif /* CONFIG_LVGL_EJ_STACK_USAGE_LOG */

static void log_box_add_text(const char *text)
{
	lv_label_ins_text(log_label, LV_LABEL_POS_LAST, text);
	lv_obj_scroll_to_y(text_box, LV_COORD_MAX, LV_ANIM_OFF);

}

static void box_button_event_cb(lv_event_t *event)
{
	if (lv_event_get_code(event) != LV_EVENT_CLICKED) {
		return;
	}

	lv_obj_t *mbox = (lv_obj_t *)lv_event_get_user_data(event);
	lv_msgbox_close(mbox);
}

static void screen_back_event_cb(lv_event_t *event)
{
	if (lv_event_get_code(event) != LV_EVENT_CLICKED) {
		return;
	}

	lv_obj_t *screen = lv_event_get_user_data(event);

	app_state_set_screen(APP_SCREEN_MAIN);

	lv_screen_load_anim(screen, LV_SCR_LOAD_ANIM_MOVE_RIGHT, 300, 0, false);
}

static void button_event_cb(lv_event_t *event)
{
	if (lv_event_get_code(event) != LV_EVENT_CLICKED) {
		return;
	}

	struct user_data_ej *user_data = (struct user_data_ej *)lv_event_get_user_data(event);

	if (user_data->button_id == BUTTON_ID_MAIN) {
		char buf[64];
		int ret;

		(void)app_state_increment_click_count();
		ret = app_controller_send(APP_EVENT_RADIO_TOGGLE, 0);
		if (ret < 0) {
			snprintk(buf, sizeof(buf),
				 "Radio event send failed: %d\n", ret);
			log_box_add_text(buf);
			return;
		}

		lv_label_set_text(counter_label, "Radio: Updating...");
		log_box_add_text("Internet radio toggle event sent\n");
	} else if (user_data->button_id == BUTTON_ID_SUB) {
		char buf[64];
		int ret;

		ret = app_controller_send(APP_EVENT_LED_NEXT, 0);
		if (ret < 0) {
			snprintk(buf, sizeof(buf), "Event Queue full: %d\n", ret);
			log_box_add_text(buf);
			return;
		}

		log_box_add_text("LED event sent\n");

	} else if (user_data->button_id == BUTTON_ID_MSGBOX) {
		int ret;

		ret = app_controller_send(APP_EVENT_AUDIO_PLAY, 0);
		if (ret < 0) {
			char buf[64];

			snprintk(buf, sizeof(buf),
				 "Audio event send failed: %d\n", ret);
			log_box_add_text(buf);
		}

		lv_obj_t *mbox = lv_msgbox_create(NULL);
		lv_msgbox_add_title(mbox, "Title");
		lv_msgbox_add_text(mbox, "Hello from LVGL EJ");
		lv_obj_t *ok_btn = lv_msgbox_add_footer_button(mbox, "OK");
		lv_obj_set_size(ok_btn, 80, 40);
		lv_obj_add_event_cb(ok_btn, box_button_event_cb, LV_EVENT_CLICKED, mbox);
	} else if (user_data->button_id == BUTTON_ID_SETUP) {
		app_state_set_screen(APP_SCREEN_SETUP);
		lv_screen_load_anim(user_data->screen,
				    LV_SCR_LOAD_ANIM_MOVE_LEFT,
				    300, 0, false);
	}
}


static void lvgl_ej_thread_handler(void *p1, void *p2, void *p3)
{
#if defined(CONFIG_LVGL_EJ_STACK_USAGE_LOG)
	int64_t last_stack_log_time = 0;
#endif

	ARG_UNUSED(p1);
	ARG_UNUSED(p2);
	ARG_UNUSED(p3);

	int ret;
	if (!device_is_ready(DISPLAY_DEV)) {
		printk("Display device is not ready\n");
		return ;
	}

	ret = display_blanking_off(DISPLAY_DEV);
	if (ret < 0 && ret != -ENOSYS) {
		printk("Display blanking off failed: %d\n", ret);
		return ;
	}

	ret = lvgl_init();
	if (ret < 0) {
		printk("LVGL init failed: %d\n", ret);
		return ;
	}

	lv_obj_t *main_screen = lv_obj_create(NULL);
	lv_obj_t *setup_screen = lv_obj_create(NULL);

	lv_obj_set_style_bg_color(main_screen, lv_color_hex(0x20252b), LV_PART_MAIN);
	lv_obj_set_style_pad_all(main_screen, 24, LV_PART_MAIN);

	lv_obj_t *title = lv_label_create(main_screen);

	lv_label_set_text(title, "LVGL Practice 01");
	lv_obj_set_style_text_color(title, lv_color_hex(0x00ffff), LV_PART_MAIN);
	lv_obj_set_style_text_font(title, &lv_font_montserrat_24, LV_PART_MAIN);
	lv_obj_align(title, LV_ALIGN_TOP_MID, 0, 0);

	lv_obj_t *setup_title = lv_label_create(setup_screen);

	lv_label_set_text(setup_title, "Setup Screen");
	lv_obj_set_style_text_color(setup_title, lv_color_hex(0x00ffff), LV_PART_MAIN);
	lv_obj_set_style_text_font(setup_title, &lv_font_montserrat_24, LV_PART_MAIN);
	lv_obj_align(setup_title, LV_ALIGN_TOP_MID, 0, 50);
	lv_obj_set_style_bg_color(setup_screen, lv_color_hex(0x20252b), LV_PART_MAIN);
	lv_obj_set_style_pad_all(setup_screen, 24, LV_PART_MAIN);
	lv_obj_add_flag(setup_screen, LV_OBJ_FLAG_CLICKABLE);
	lv_obj_add_event_cb(setup_screen, screen_back_event_cb, LV_EVENT_CLICKED, main_screen);


	state_label = lv_label_create(setup_screen);

	lv_label_set_text(state_label,
			"Play: 0\nLED: 0\nColor: 0\nRadio: STOPPED");
	lv_obj_set_style_text_color(state_label,
			lv_color_hex(0xd9e2ec),
			LV_PART_MAIN);
	lv_obj_align(state_label, LV_ALIGN_TOP_MID, 0, 100);

	aht10_label = lv_label_create(setup_screen);
	lv_label_set_text(aht10_label, "--.---\xC2\xB0" "C / --.---%RH");
	lv_obj_set_style_text_color(aht10_label,
				    lv_color_hex(0x00ffff),
				    LV_PART_MAIN);
	lv_obj_align(aht10_label, LV_ALIGN_TOP_MID, 0, 190);

	counter_label = lv_label_create(main_screen);
	lv_label_set_text(counter_label, "Radio: STOPPED");
	lv_obj_set_style_text_color(counter_label, lv_color_hex(0xd9e2ec), LV_PART_MAIN);
	lv_obj_align(counter_label, LV_ALIGN_TOP_MID, 0, 30);

	lv_obj_t *button = lv_button_create(main_screen);
	static struct user_data_ej button_data = {
		.button_id = BUTTON_ID_MAIN,
	};

	button_data.screen = main_screen;
	lv_obj_set_size(button, 74, 40);
	lv_obj_align(button, LV_ALIGN_BOTTOM_MID, -50, -4);
	lv_obj_add_event_cb(button, button_event_cb, LV_EVENT_CLICKED, &button_data);

	radio_button_label = lv_label_create(button);

	lv_label_set_text(radio_button_label, "Play");
	lv_obj_center(radio_button_label);

	lv_obj_t *button1 = lv_button_create(main_screen);
	static struct user_data_ej button1_data = {
		.button_id = BUTTON_ID_SUB,
	};

	lv_obj_set_size(button1, 74, 40);
	lv_obj_align(button1, LV_ALIGN_BOTTOM_MID, -160, -4);
	button1_data.screen = main_screen;
	lv_obj_add_event_cb(button1, button_event_cb, LV_EVENT_CLICKED,
			    &button1_data);

	lv_obj_t *button1_label = lv_label_create(button1);
	lv_label_set_text(button1_label, "LED");
	lv_obj_center(button1_label);

	
	lv_obj_t *button2 = lv_button_create(main_screen);
	static struct user_data_ej button2_data = {
		.button_id = BUTTON_ID_MSGBOX,
	};

	lv_obj_set_size(button2, 74, 40);
	lv_obj_align(button2, LV_ALIGN_BOTTOM_MID, 50, -4);
	button2_data.screen = main_screen;
	lv_obj_add_event_cb(button2, button_event_cb, LV_EVENT_CLICKED,
			    &button2_data);

	lv_obj_t *button2_label = lv_label_create(button2);
	lv_label_set_text(button2_label, "MsgBox");
	lv_obj_center(button2_label);

	lv_obj_t *button3 = lv_button_create(main_screen);
	static struct user_data_ej button3_data = {
		.button_id = BUTTON_ID_SETUP,
	};
	lv_obj_set_size(button3, 74, 40);
	lv_obj_align(button3, LV_ALIGN_BOTTOM_MID, 160, -4);
	button3_data.screen = setup_screen;
	lv_obj_add_event_cb(button3, button_event_cb, LV_EVENT_CLICKED,
			    &button3_data);
	lv_obj_t *button3_label = lv_label_create(button3);
	lv_label_set_text(button3_label, "Setup");
	lv_obj_center(button3_label);


	lv_obj_t *mbox = lv_msgbox_create(NULL);
	lv_msgbox_add_title(mbox, "Title");
	lv_msgbox_add_text(mbox, "Hello from LVGL EJ");
	lv_obj_t *ok_btn = lv_msgbox_add_footer_button(mbox, "OK");
	lv_obj_set_size(ok_btn, 80, 40);
	lv_obj_add_event_cb(ok_btn, box_button_event_cb, LV_EVENT_CLICKED, mbox);

	text_box = lv_obj_create(main_screen);
	lv_obj_set_size(text_box, 260, 120);
	lv_obj_align(text_box, LV_ALIGN_TOP_MID, 0, 60);
	lv_obj_add_flag(text_box, LV_OBJ_FLAG_SCROLLABLE);
	lv_obj_set_scroll_dir(text_box, LV_DIR_VER);
	lv_obj_set_scrollbar_mode(text_box, LV_SCROLLBAR_MODE_ON);
	lv_obj_set_style_pad_all(text_box, 8, LV_PART_MAIN);

	log_label = lv_label_create(text_box);
	lv_obj_set_width(log_label, LV_PCT(100));
	lv_label_set_long_mode(log_label, LV_LABEL_LONG_WRAP);
	lv_label_set_text(log_label, "Log start\n");

	lv_screen_load(main_screen);
	lv_refr_now(NULL);

	lv_timer_create(ui_state_timer_cb, 1000, NULL);
#if defined(CONFIG_LVGL_EJ_STACK_USAGE_LOG)
	lvgl_ej_print_stack_usage();
#endif

	while (1) {
#if defined(CONFIG_LVGL_EJ_STACK_USAGE_LOG)
		int64_t now = k_uptime_get();
#endif
		uint32_t sleep_ms = lv_timer_handler();

#if defined(CONFIG_LVGL_EJ_STACK_USAGE_LOG)
		if ((now - last_stack_log_time) >= CONFIG_LVGL_EJ_STACK_LOG_INTERVAL_MS) {
			last_stack_log_time = now;
			lvgl_ej_print_stack_usage();
		}
#endif

		if (sleep_ms == 0) {
			sleep_ms = 1;
		}

		k_msleep(MIN(sleep_ms, INT32_MAX));
	}
}

int lvgl_ej_start(void)
{
	k_thread_create(&lvgl_ej_thread, lvgl_ej_thread_stack,
			K_THREAD_STACK_SIZEOF(lvgl_ej_thread_stack), lvgl_ej_thread_handler,
			NULL, NULL, NULL, LVGL_EJ_THREAD_PRIORITY, 0, K_NO_WAIT);

	k_thread_name_set(&lvgl_ej_thread, "lvgl_ej");
	return 0;
}

static void ui_state_timer_cb(lv_timer_t *timer)
{
	struct app_state_snapshot snapshot;
	char temperature[24];
	char humidity[24];

	ARG_UNUSED(timer);

	app_state_get_snapshot(&snapshot);
	lv_label_set_text(radio_button_label,
			      snapshot.radio_playing ? "Stop" : "Play");
	lv_label_set_text(counter_label,
			      snapshot.radio_playing
				      ? "Radio: PLAYING"
				      : "Radio: STOPPED");
	lv_obj_set_style_text_color(counter_label,
				    snapshot.radio_playing
					    ? lv_color_hex(0x4ade80)
					    : lv_color_hex(0xf87171),
				    LV_PART_MAIN);

	lv_label_set_text_fmt(state_label,
			    "Play: %u\nLED: %u\nColor: %u\nRadio: %s",
			    snapshot.click_count,
			    snapshot.led_click_count,
			    snapshot.led_color_index,
			    snapshot.radio_playing ? "PLAYING" : "STOPPED");

	if (!snapshot.aht10_valid) {
		lv_label_set_text(aht10_label, "AHT10: unavailable");
		return;
	}

	format_milli_value(temperature, sizeof(temperature),
			   snapshot.temperature_milli_c);
	format_milli_value(humidity, sizeof(humidity),
			   snapshot.humidity_milli_percent);
	lv_label_set_text_fmt(aht10_label, "%s\xC2\xB0" "C / %s%%RH",
			      temperature, humidity);
}

static void format_milli_value(char *buf, size_t buf_size, int64_t value)
{
	uint64_t magnitude;

	if (value < 0) {
		magnitude = (uint64_t)(-(value + 1)) + 1U;
		snprintk(buf, buf_size, "-%llu.%03llu",
			 (unsigned long long)(magnitude / 1000U),
			 (unsigned long long)(magnitude % 1000U));
		return;
	}

	magnitude = (uint64_t)value;
	snprintk(buf, buf_size, "%llu.%03llu",
		 (unsigned long long)(magnitude / 1000U),
		 (unsigned long long)(magnitude % 1000U));
}
```

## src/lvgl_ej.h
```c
#ifndef LVGL_EJ_H_
#define LVGL_EJ_H_

int lvgl_ej_start(void);

#endif /* LVGL_EJ_H_ */
```
